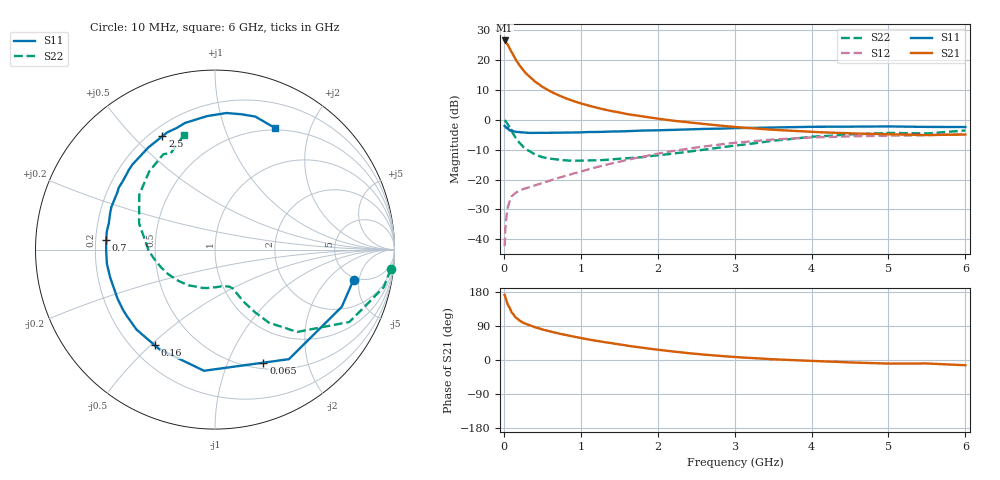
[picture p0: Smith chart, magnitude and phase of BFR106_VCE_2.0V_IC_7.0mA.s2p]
! Infineon Technologies  Discrete & RF Semiconductors
! BFR106
! VCE =  2.0 V,  IC =  7.0 mA
! Common Emitter S-Parameters:  Nov 2015
# GHz  S  MA  R  50
!  f  S11  S21  S12  S22
! GHz  MAG  ANG  MAG  ANG  MAG  ANG  MAG  ANG
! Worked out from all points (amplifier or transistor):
!   210 points, 10 MHz to 6 GHz, reference 50 ohm
!   highest |S21| = 26.5 dB at 10 MHz (marker M1)
!   |S21| within 3 dB of that: start of sweep to 82.04 MHz
!   unconditionally stable (mu >= 1): 541.4 MHz to 2.302 GHz; 4.466 GHz to end of sweep
!   at 185 MHz: K = 0.47, MSG = 21.4 dB, |S12| = -23.9 dB
!   at 1.52 GHz: K = 1.12, MAG = 6.0 dB, |S12| = -13.9 dB
!   at 6 GHz: K = 1.03, MAG = -1.1 dB, |S12| = -4.8 dB
!   S11 on the Smith chart (normalised r, x): 10 MHz: 4.68, -4.19; 65 MHz: 0.57, -1.35; 160 MHz: 0.29, -0.52; 700 MHz: 0.24, +0.04; 2.5 GHz: 0.25, +0.61; 6 GHz: 0.47, +1.50
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0.01  0.7901 -12.3  21.22 172.0  0.0077 84.5  0.9848 -6.4
0.02  0.7749 -24.3  20.64 165.6  0.0151 78.6  0.9633 -12.6
0.05  0.7364 -56.0  18.05 146.6  0.0342 63.3  0.8504 -28.3
0.065  0.6852 -66.8  16.55 141.6  0.0393 57.5  0.7837 -32.4
0.1  0.6779 -95.2  13.7 126.1  0.0523 48.7  0.6486 -45.0
0.15  0.6357 -119.2  10.33 112.8  0.06 42.2  0.5059 -53.6
0.16  0.6299 -122.2  9.908 111.5  0.061 41.7  0.488 -54.2
0.2  0.6243 -134.4  8.279 104.7  0.0651 39.9  0.4169 -57.3
0.26  0.6125 -147.0  6.572 97.5  0.0699 39.5  0.3448 -60.5
0.3  0.608 -153.2  5.747 94.0  0.0725 40.1  0.3157 -61.8
0.4  0.6043 -165.0  4.412 86.7  0.0798 42.7  0.2652 -63.7
0.5  0.6074 -172.5  3.565 80.6  0.0873 45.5  0.2372 -65.5
0.6  0.6064 -179.4  3.008 75.3  0.0964 48.2  0.2242 -68.0
0.7  0.6088 174.9  2.61 70.3  0.1057 50.5  0.2162 -71.3
1.02  0.6181 160.9  1.848 57.4  0.1392 55.2  0.2081 -83.1
1.4  0.638 147.2  1.399 44.3  0.186 56.7  0.2184 -101.0
2.02  0.6677 128.0  1.038 26.8  0.274 52.6  0.2561 -133.1
2.5  0.6964 114.9  0.879 16.2  0.344 46.3  0.3044 -157.3
3.1  0.7275 101.2  0.742 6.6  0.4225 36.2  0.3819 175.9
4.1  0.7639 83.9  0.62 -3.2  0.5106 18.6  0.5284 141.0
5.1  0.771 72.0  0.569 -9.4  0.5443 4.4  0.6015 117.7
6  0.7565 63.8  0.567 -13.8  0.577 -5.6  0.6635 105.0
